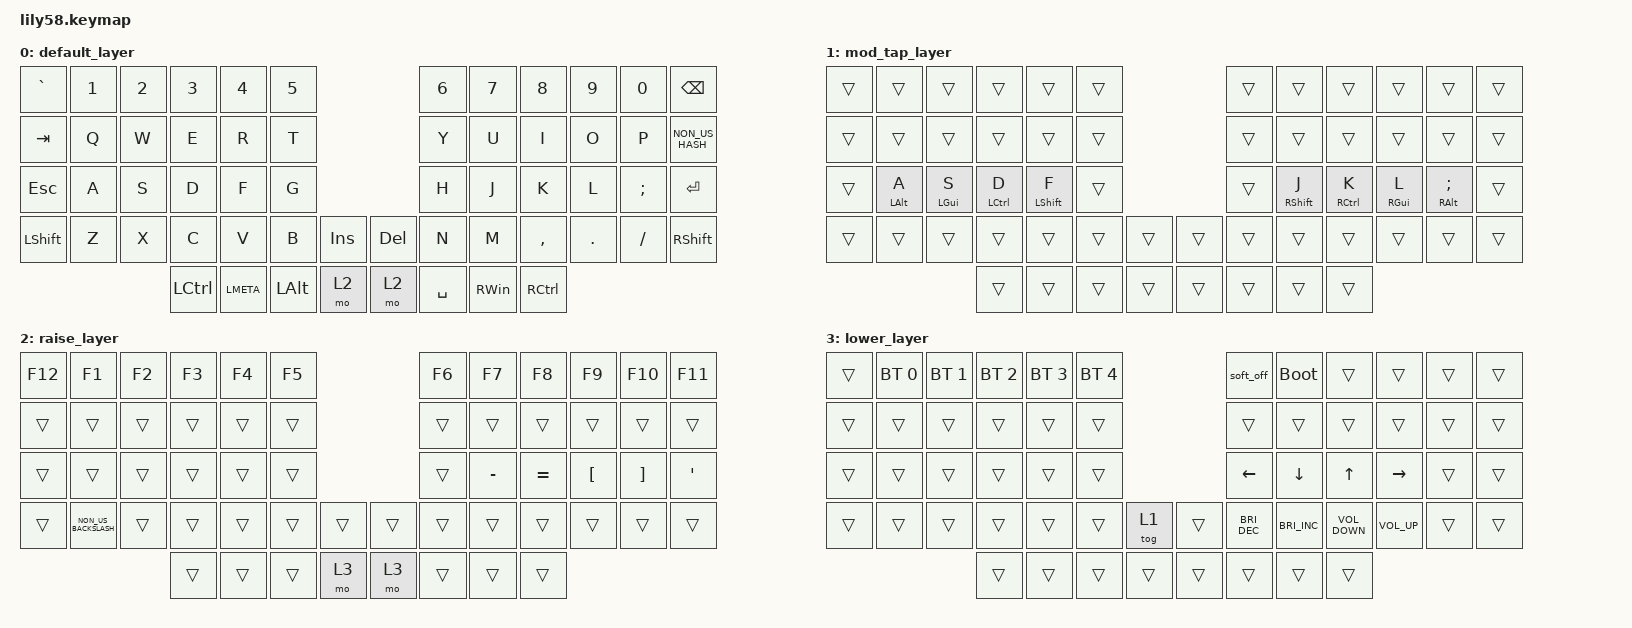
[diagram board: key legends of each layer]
/*
 * Copyright (c) 2020 The ZMK Contributors
 *
 * SPDX-License-Identifier: MIT
 */

#include <behaviors.dtsi>
#include <dt-bindings/zmk/bt.h>
#include <dt-bindings/zmk/keys.h>

/ {
    // Combo keys are a way to combine multiple keypresses to output a different key.

    combos {
        compatible = "zmk,combos";

        combo_clear_bluetooth {
            timeout-ms = <50>; // Press all the below keys within 50ms to activate mapping
            key-positions = <52 42 0>; // Press 52=LOWER, 42=[, 0=tilde
            bindings = <&bt BT_CLR>; // activate clear bluetooth bindings for current channel
        };
    };

    behaviors {
        hml: home_row_mod_left {
            compatible = "zmk,behavior-hold-tap";
            #binding-cells = <2>;
            flavor = "balanced";
            require-prior-idle-ms = <150>;
            tapping-term-ms = <280>;
            quick-tap-ms = <175>;
            bindings = <&kp>, <&kp>;
            hold-trigger-key-positions = <25 26 27 28>;
            hold-trigger-on-release;
        };
        hmr: home_row_mod_right {
            compatible = "zmk,behavior-hold-tap";
            #binding-cells = <2>;
            flavor = "balanced";
            require-prior-idle-ms = <150>;
            tapping-term-ms = <280>;
            quick-tap-ms = <175>;
            bindings = <&kp>, <&kp>;
            hold-trigger-key-positions = <31 32 33 34>;
            hold-trigger-on-release;
        };
    };

    keymap {
        compatible = "zmk,keymap";

        default_layer {
            // ------------------------------------------------------------------------------------------------------------
            // |   `      |  1  |  2  |  3   |  4   |  5   |                   |  6   |  7    |  8    |  9   |   0   |   -   |
            // |  TAB     |  Q  |  W  |  E   |  R   |  T   |                   |  Y   |  U    |  I    |  O   |   P   |   =   |
            // |hCTRL tESC|  A  |  S  |  D   |  F   |  G   |                   |  H   |  J    |  K    |  L   |   ;   |   '   |
            // | SHIFT    |  Z  |  X  |  C   |  V   |  B   |   "["  |  |  "]"  |  N   |  M    |  ,    |  .   |   /   | SHIFT |
            //                        | ALT  | GUI  | LOWER|  SPACE |  | BSPC  | ENTER| RAISE | CTRL  |

            bindings = <
&kp GRAVE   &kp N1  &kp N2  &kp N3            &kp N4     &kp N5                                  &kp N6     &kp N7         &kp N8     &kp N9   &kp N0    &kp BACKSPACE
&kp TAB     &kp Q   &kp W   &kp E             &kp R      &kp T                                   &kp Y      &kp U          &kp I      &kp O    &kp P     &kp NON_US_HASH
&kp ESCAPE  &kp A   &kp S   &kp D             &kp F      &kp G                                   &kp H      &kp J          &kp K      &kp L    &kp SEMI  &kp ENTER
&kp LSHFT   &kp Z   &kp X   &kp C             &kp V      &kp B         &kp INSERT    &kp DELETE  &kp N      &kp M          &kp COMMA  &kp DOT  &kp FSLH  &kp RSHFT
                            &kp LEFT_CONTROL  &kp LMETA  &kp LEFT_ALT  &mo 2         &mo 2       &kp SPACE  &kp RIGHT_WIN  &kp RCTRL
            >;
        };

        mod_tap_layer {
            // ------------------------------------------------------------------------------------------------------------
            // |   `      |  1  |  2  |  3   |  4   |  5   |                   |  6   |  7    |  8    |  9   |   0   |   -   |
            // |  TAB     |  Q  |  W  |  E   |  R   |  T   |                   |  Y   |  U    |  I    |  O   |   P   |   =   |
            // |hCTRL tESC|  A  |  S  |  D   |  F   |  G   |                   |  H   |  J    |  K    |  L   |   ;   |   '   |
            // | SHIFT    |  Z  |  X  |  C   |  V   |  B   |   "["  |  |  "]"  |  N   |  M    |  ,    |  .   |   /   | SHIFT |
            //                        | ALT  | GUI  | LOWER|  SPACE |  | BSPC  | ENTER| RAISE | CTRL  |

            bindings = <
&trans  &trans          &trans          &trans              &trans        &trans                    &trans  &trans        &trans               &trans           &trans                   &trans
&trans  &trans          &trans          &trans              &trans        &trans                    &trans  &trans        &trans               &trans           &trans                   &trans
&trans  &hml LEFT_ALT A  &hml LEFT_GUI S  &hml LEFT_CONTROL D  &hml LEFT_SHIFT F  &trans                    &trans  &hmr RIGHT_SHIFT J  &hmr RIGHT_CONTROL K  &hmr RIGHT_GUI L  &hmr RIGHT_ALT SEMICOLON  &trans
&trans  &trans          &trans          &trans              &trans        &trans  &trans    &trans  &trans  &trans        &trans               &trans           &trans                   &trans
                                        &trans              &trans        &trans  &trans    &trans  &trans  &trans        &trans
            >;
        };

        raise_layer {
            // ------------------------------------------------------------------------------------------------------------
            // |  F12    |  F1 |  F2 |  F3  |  F4  |  F5  |                   |  F6  |   F7  |   F8  |  F9  |  F10  |  F11  |
            // |   `     |  1  |  2  |  3   |  4   |  5   |                   |  6   |   7   |   8   |  9   |   0   |   -   |
            // |CTRL/ESC |     |     |      |      |      |                   |  <-  |   ^   |   v   |  ->  |       |       |
            // | SHIFT   |     |     |      |      |      |        |  |       |  +   |   -   |   =   |  [   |   ]   |   \   |
            //                       |      |      |      |        |  |       |      |       |       |

            bindings = <
&kp F12  &kp F1                &kp F2  &kp F3  &kp F4  &kp F5                    &kp F6  &kp F7     &kp F8     &kp F9            &kp F10            &kp F11
&trans   &trans                &trans  &trans  &trans  &trans                    &trans  &trans     &trans     &trans            &trans             &trans
&trans   &trans                &trans  &trans  &trans  &trans                    &trans  &kp MINUS  &kp EQUAL  &kp LEFT_BRACKET  &kp RIGHT_BRACKET  &kp SINGLE_QUOTE
&trans   &kp NON_US_BACKSLASH  &trans  &trans  &trans  &trans  &trans    &trans  &trans  &trans     &trans     &trans            &trans             &trans
                                       &trans  &trans  &trans  &mo 3     &mo 3   &trans  &trans     &trans
            >;
        };

        lower_layer {
            // ------------------------------------------------------------------------------------------------------------
            // | EXT PWR TOGGLE | BT1     | BT2    |  BT3 |  BT4  |  BT5 |                    |      |       |       |      |       |       |
            // |                |         |        |      |       |      |                    |      |       |       |      |       |   \   |
            // |   ~            |  !      |  @     |  #   |  $    |  %   |                    |  ^   |  &    |  *    |  (   |   )   |   _   |
            // | SHIFT          |  EP_ON  | EP_OFF |      |  (    |  {   |       |  |   DEL   |  }   |  )    |  +    |  {   |   }   | SHIFT |
            //                                     |      |       |      |       |  |         |      |       |       |

            bindings = <
&trans  &bt BT_SEL 0  &bt BT_SEL 1  &bt BT_SEL 2  &bt BT_SEL 3  &bt BT_SEL 4                    &soft_off             &bootloader           &trans             &trans           &trans  &trans
&trans  &trans        &trans        &trans        &trans        &trans                          &trans                &trans                &trans             &trans           &trans  &trans
&trans  &trans        &trans        &trans        &trans        &trans                          &kp LEFT_ARROW        &kp DOWN_ARROW        &kp UP_ARROW       &kp RIGHT_ARROW  &trans  &trans
&trans  &trans        &trans        &trans        &trans        &trans        &tog 1    &trans  &kp C_BRIGHTNESS_DEC  &kp C_BRIGHTNESS_INC  &kp C_VOLUME_DOWN  &kp C_VOLUME_UP  &trans  &trans
                                    &trans        &trans        &trans        &trans    &trans  &trans                &trans                &trans
            >;
        };
    };
};
